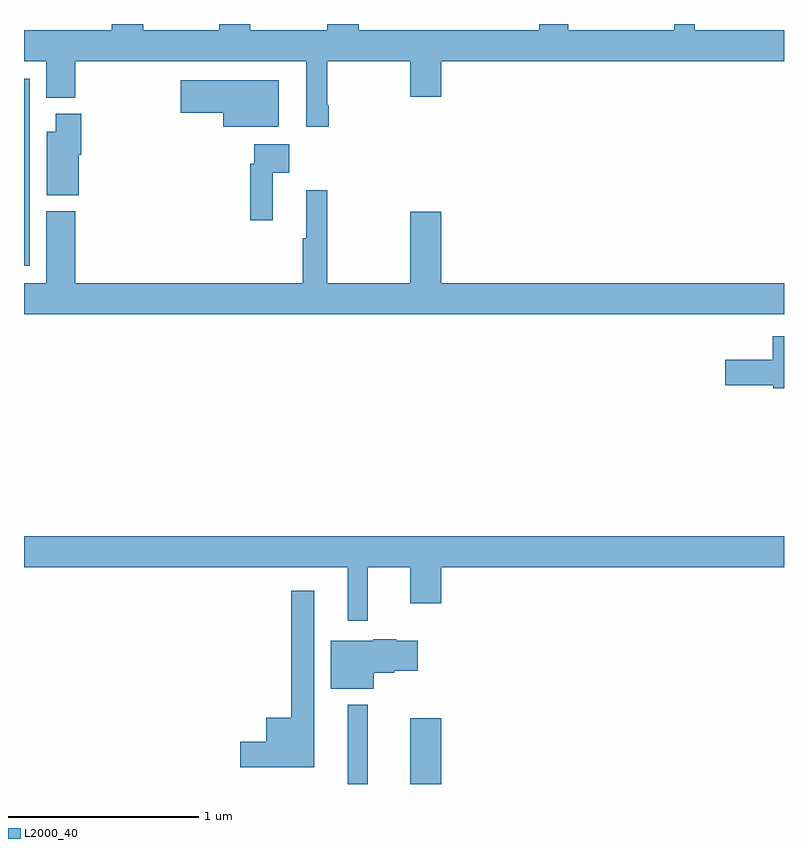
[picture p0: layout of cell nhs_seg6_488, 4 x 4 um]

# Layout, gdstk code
import gdstk
lib = gdstk.Library(unit=1e-6, precision=1e-09)
def R(c, l, rs):  # rectangles x0, y0, x1, y1
    for r in rs: c.add(gdstk.rectangle(r[:2], r[2:], *l))
def P(c, l, *ps):  # polygons
    for p in ps: c.add(gdstk.Polygon(p, *l))
L2000_40 = (2000, 40)

nhs_seg6_488 = lib.new_cell('nhs_seg6_488')
R(nhs_seg6_488, L2000_40, [(140.705,975.5,140.809,975.916), (141.032,975.5,141.196,975.847), (139,978.228,139.029,979.212)])
P(nhs_seg6_488, L2000_40, [(140.603,979.072),(140.596,979.072),(140.596,979.304),(141.032,979.304),(141.032,979.116),(141.196,979.116),(141.196,979.304),(143,979.304),(143,979.468),(142.531,979.468),(142.531,979.5),(142.422,979.5),(142.422,979.468),(141.865,979.468),(141.865,979.5),(141.713,979.5),(141.713,979.468),(140.761,979.468),(140.761,979.5),(140.597,979.5),(140.597,979.468),(140.191,979.468),(140.191,979.5),(140.027,979.5),(140.027,979.468),(139.627,979.468),(139.627,979.5),(139.463,979.5),(139.463,979.468),(139,979.468),(139,979.304),(139.118,979.304),(139.118,979.112),(139.271,979.112),(139.271,979.304),(140.486,979.304),(140.486,978.96),(140.603,978.96)],
  [(140.341,979.204),(139.824,979.204),(139.824,979.034),(140.048,979.034),(140.048,978.959),(140.341,978.959)],
  [(139.288,978.813),(139.301,978.813),(139.301,979.027),(139.166,979.027),(139.166,978.934),(139.121,978.934),(139.121,978.599),(139.288,978.599)],
  [(140.309,978.716),(140.395,978.716),(140.395,978.868),(140.211,978.868),(140.211,978.764),(140.191,978.764),(140.191,978.468),(140.309,978.468)],
  [(143,978.136),(141.196,978.136),(141.196,978.511),(141.032,978.511),(141.032,978.136),(140.596,978.136),(140.596,978.625),(140.486,978.625),(140.486,978.372),(140.467,978.372),(140.467,978.136),(139.271,978.136),(139.271,978.514),(139.118,978.514),(139.118,978.136),(139,978.136),(139,977.972),(143,977.972)],
  [(143,977.857),(142.94,977.857),(142.94,977.734),(142.692,977.734),(142.692,977.6),(142.944,977.6),(142.944,977.582),(143,977.582)],
  [(140.809,976.64),(141.032,976.64),(141.032,976.452),(141.196,976.452),(141.196,976.64),(143,976.64),(143,976.804),(139,976.804),(139,976.64),(140.705,976.64),(140.705,976.359),(140.809,976.359)],
  [(140.527,976.516),(140.406,976.516),(140.406,975.85),(140.276,975.85),(140.276,975.722),(140.139,975.722),(140.139,975.587),(140.527,975.587)],
  [(140.842,976.085),(140.949,976.085),(140.949,976.097),(141.073,976.097),(141.073,976.255),(140.96,976.255),(140.96,976.263),(140.838,976.263),(140.838,976.255),(140.615,976.255),(140.615,976.001),(140.842,976.001)])

lib.write_gds('nhs_seg6_488.gds')
